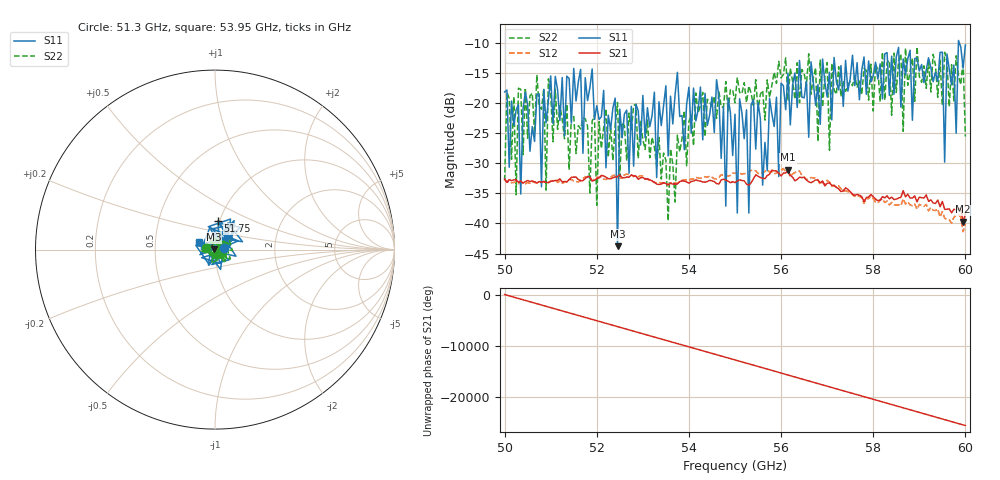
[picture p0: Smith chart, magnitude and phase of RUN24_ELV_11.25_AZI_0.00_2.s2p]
! 11/24/2026 9:49:08 AM
! C:\ANRITSUVNA\TEMP\TEMP.S2P
! CHANNEL.1
! TR.MEASUREMENT
! RAW.DATA
# HZ S RI R 50.0
! FREQ.HZ  S11RE  S11IM  S21RE  S21IM  S12RE  S12IM  S22RE  S22IM
!; PortSelection: Port_12
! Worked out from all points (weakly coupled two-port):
!   201 points, 50 GHz to 60 GHz, reference 50 ohm
!   highest |S21| = -31.11 dB at 56.15 GHz (marker M1); lowest = -39.7 dB at 59.95 GHz (marker M2)
!   lowest |S11| = -43.8 dB at 52.45 GHz (marker M3), VSWR 1.01, Z = 49.4 + j0.0677 ohm
!   |S11| at or under -10 dB: start of sweep to 59.85 GHz; 59.86564 GHz to end of sweep
!   |S22| runs from -39.6 to -10.7 dB; largest |S21 - S12| = 0.043
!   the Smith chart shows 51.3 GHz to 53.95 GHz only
!   S11 on the Smith chart (normalised r, x): 51.3 GHz: 1.11, +0.01; 51.75 GHz: 0.98, +0.32; 53.95 GHz: 0.84, +0.07
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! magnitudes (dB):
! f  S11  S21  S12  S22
! 50 GHz  -18.2  -32.6  -32.8  -32.9
! 50.35 GHz  -35.1  -32.9  -33.1  -17.8
! 50.45 GHz  -18.2  -33.1  -33.4  -17.5
! 51.3 GHz  -25.5  -33.0  -33.2  -26.0
! 51.7 GHz  -28.4  -32.9  -32.5  -22.6
! 51.75 GHz  -15.8  -32.6  -32.3  -22.6
! 52.4 GHz  -19.2  -32.3  -32.0  -23.6
! 52.45 GHz  -43.8  -32.2  -32.4  -20.0
! 52.5 GHz  -21.0  -31.9  -32.5  -32.2
! 53.35 GHz  -19.8  -33.5  -33.2  -25.7
! 53.95 GHz  -20.3  -33.1  -32.8  -30.5
! 54.6 GHz  -16.2  -33.4  -32.6  -22.6
! 54.8 GHz  -37.1  -32.8  -32.2  -16.5
! 55 GHz  -21.9  -33.2  -31.7  -20.0
! 55.3 GHz  -38.3  -33.7  -31.5  -17.2
! 55.35 GHz  -20.3  -33.3  -31.2  -18.4
! 55.95 GHz  -32.2  -31.7  -31.4  -13.1
! 56.15 GHz  -15.1  -31.1  -31.4  -19.6
! 56.7 GHz  -16.7  -33.0  -32.5  -15.9
! 58.35 GHz  -18.8  -35.9  -36.9  -13.0
! 59.95 GHz  -14.3  -39.7  -41.4  -12.9
! 60 GHz  -10.4  -38.4  -40.2  -25.6
